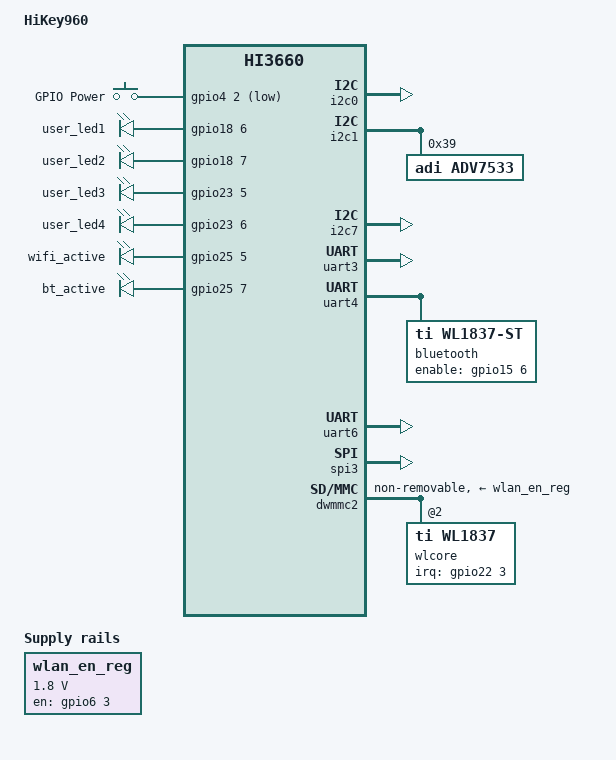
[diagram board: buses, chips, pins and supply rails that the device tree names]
/*
 * dts file for Hisilicon HiKey960 Development Board
 *
 * Copyright (C) 2016, Hisilicon Ltd.
 *
 */

/dts-v1/;

#include "hi3660.dtsi"
#include "hikey960-pinctrl.dtsi"
#include "hi3660-gpu.dtsi"
#include <dt-bindings/gpio/gpio.h>
#include <dt-bindings/input/input.h>
#include <dt-bindings/interrupt-controller/irq.h>

/ {
	model = "HiKey960";
	compatible = "hisilicon,hi3660-hikey960", "hisilicon,hi3660";

	aliases {
		mshc1 = &dwmmc1;
		mshc2 = &dwmmc2;
		serial0 = &uart0;
		serial1 = &uart1;
		serial2 = &uart2;
		serial3 = &uart3;
		serial4 = &uart4;
		serial5 = &uart5;
		serial6 = &uart6;
	};

	chosen {
		stdout-path = "serial6:115200n8";
	};

	memory@0 {
		device_type = "memory";
		/* rewrite this at bootloader */
		reg = <0x0 0x0 0x0 0x0>;
	};

	soc {
		keys: gpio-keys {
			compatible = "gpio-keys";
			pinctrl-names = "default";
			pinctrl-0 = <&pwr_key_pmx_func &pwr_key_cfg_func>;

			power {
				wakeup-source;
				gpios = <&gpio4 2 GPIO_ACTIVE_LOW>;
				label = "GPIO Power";
				linux,code = <KEY_POWER>;
			};
		};

		leds {
			compatible = "gpio-leds";
			status = "okay";

			user_led1 {
				label = "user_led1";
				/* gpio_150_user_led1 */
				gpios = <&gpio18 6 0>;
				linux,default-trigger = "heartbeat";
			};

			user_led2 {
				label = "user_led2";
				/* gpio_151_user_led2 */
				gpios = <&gpio18 7 0>;
				linux,default-trigger = "mmc0";
			};

			user_led3 {
				label = "user_led3";
				/* gpio_189_user_led3 */
				gpios = <&gpio23 5 0>;
				default-state = "off";
			};

			user_led4 {
				label = "user_led4";
				/* gpio_190_user_led4 */
				gpios = <&gpio23 6 0>;
				linux,default-trigger = "cpu0";
			};

			wlan_active_led {
				label = "wifi_active";
				/* gpio_205_wifi_active */
				gpios = <&gpio25 5 0>;
				linux,default-trigger = "phy0tx";
				default-state = "off";
			};

			bt_active_led {
				label = "bt_active";
				gpios = <&gpio25 7 0>;
				/* gpio_207_user_led1 */
				linux,default-trigger = "hci0-power";
				default-state = "off";
			};
		};

		wlan_en_reg: fixedregulator@1 {
			compatible = "regulator-fixed";
			regulator-name = "wlan-en-regulator";
			regulator-min-microvolt = <1800000>;
			regulator-max-microvolt = <1800000>;

			/* WLAN_EN GPIO for this board - GPIO_051_WIFI_EN */
			gpio = <&gpio6 3 0>;

			/* WLAN card specific delay */
			startup-delay-us = <70000>;
			enable-active-high;
		};
	};
};

&i2c0 {
	status = "okay";
};

&i2c1 {
	status = "okay";

	adv7533: adv7533@39 {
		status = "ok";
		compatible = "adi,adv7533";
		reg = <0x39>;
	};
};

&i2c7 {
	status = "okay";
};

&uart3 {
	status = "okay";
};

&uart4 {
	status = "okay";

	bluetooth {
		compatible = "ti,wl1837-st";
		enable-gpios = <&gpio15 6 GPIO_ACTIVE_HIGH>;
		max-speed = <921600>;
	};
};

&uart6 {
	status = "okay";
};

&spi2 {
//	status = "okay";

/*	spidev@0 {
		compatible = "linux,spidev";
		spi-max-frequency = <500000>;
		reg = <0>;
		status = "okay";
	};
 */
};

&spi3 {
	status = "okay";
};

&ufs {
	reset-gpio = <&gpio18 1 0>;
};

&dwmmc2 { /* WIFI */
	broken-cd;
	/* WL_EN */
	vmmc-supply = <&wlan_en_reg>;
	ti,non-removable;
	non-removable;
	#address-cells = <0x1>;
	#size-cells = <0x0>;
	status = "ok";

	wlcore: wlcore@2 {
		compatible = "ti,wl1837";
		reg = <2>;      /* sdio func num */
		/* WL_IRQ, GPIO_179_WL_WAKEUP_AP */
		interrupt-parent = <&gpio22>;
		interrupts = <3 IRQ_TYPE_EDGE_RISING>;
	};
};
